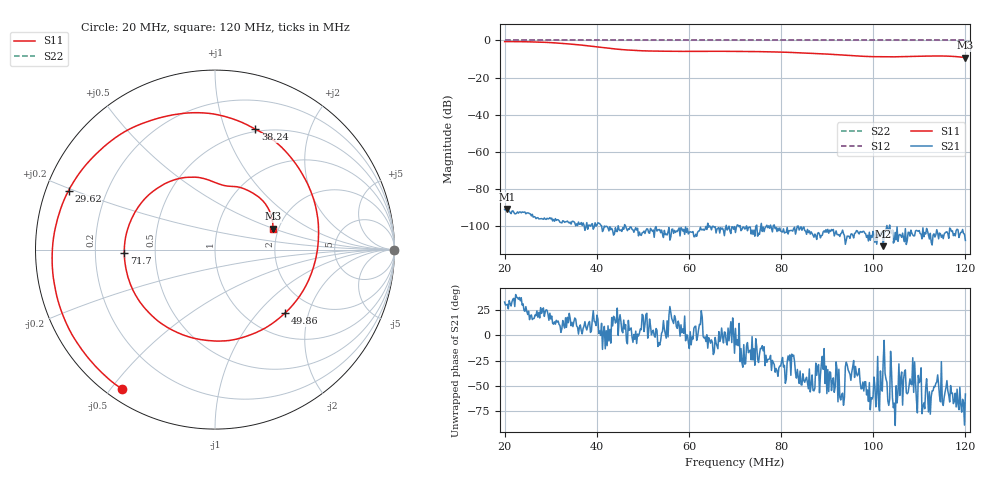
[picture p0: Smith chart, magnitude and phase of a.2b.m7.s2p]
! Anritsu VNA Master:  Model: MS2036C/10/77
! SN:  1601066
! /bd0/18may09/252.ns.m7.s2p
! Existing Calibration Information:
! TYPE:  Current Settings,  Active Cal Settings
! TIME:  05/09/2018 09:07:49 AM,  05/09/2018 09:02:47 AM
! INTERNAL TEMP:  41.0 C,  40.3 C
! # POINTS:  500,  500
! START FREQ:  20.000 MHz,  20.000 MHz
! STOP FREQ:  120.000 MHz,  120.000 MHz
! SOURCE POWER:  High,  High
! IFBW:  50 Hz,  50 Hz
! AVG FACTOR:  1 ,  1
! REF PLANE 1:  0 mm,  0 mm
! REF PLANE 2:  0 mm,  0 mm
! CAL TYPE:  Full S11,  Full S11
! CAL METHOD:  SOLT,  SOLT
! CAL LINE TYPE:  Coax,  Coax
! DUT PORT 1:  K-Conn(F),  K-Conn(F)
! DUT PORT 2:  K-Conn(F),  K-Conn(F)
! CAL STATUS:  OK: Accuracy High,  --
# GHZ S DB R 50.0
! FREQ.GHZ  S11DB  S11A  S21DB  S21A  S12DB  S12A  S22DB  S22A
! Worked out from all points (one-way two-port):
!   500 points, 20 MHz to 120 MHz, reference 50 ohm
!   highest |S21| = -91.02 dB at 20.6 MHz (marker M1); lowest = -111.0 dB at 102.2 MHz (marker M2)
!   lowest |S11| = -9.3 dB at 120 MHz (marker M3), VSWR 2.05, Z = 93.4 + j24.7 ohm
!   |S11| at or under -10 dB: nowhere
!   |S22| runs from 0.0 to 0.0 dB; largest |S21 - S12| = 1
!   S11 on the Smith chart (normalised r, x): 20 MHz: 0.04, -0.53; 29.62 MHz: 0.07, +0.19; 38.24 MHz: 0.47, +1.28; 49.86 MHz: 1.45, -1.42; 71.7 MHz: 0.33, -0.01; 120 MHz: 1.87, +0.49
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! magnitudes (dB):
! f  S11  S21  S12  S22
! 20 MHz  -0.6  -91.1  0.0  0.0
! 20.6 MHz  -0.6  -91.0  0.0  0.0
! 26.21 MHz  -0.8  -95.4  0.0  0.0
! 29.62 MHz  -1.1  -96.2  0.0  0.0
! 32.83 MHz  -1.6  -97.5  0.0  0.0
! 36.83 MHz  -2.6  -99.9  0.0  0.0
! 38.24 MHz  -3.0  -99.7  0.0  0.0
! 44.85 MHz  -4.8  -102.2  0.0  0.0
! 49.86 MHz  -5.6  -103.8  0.0  0.0
! 53.47 MHz  -5.8  -102.1  0.0  0.0
! 57.27 MHz  -5.9  -102.9  0.0  0.0
! 70.1 MHz  -5.9  -103.7  0.0  0.0
! 71.7 MHz  -5.9  -100.8  0.0  0.0
! 79.92 MHz  -6.3  -102.9  0.0  0.0
! 86.73 MHz  -6.9  -104.2  0.0  0.0
! 97.56 MHz  -8.5  -103.6  0.0  0.0
! 102.2 MHz  -8.9  -111.0  0.0  0.0
! 103.4 MHz  -8.9  -101.9  0.0  0.0
! 109 MHz  -8.5  -105.4  0.0  0.0
! 114.8 MHz  -8.4  -106.2  0.0  0.0
! 117.6 MHz  -8.6  -104.3  0.0  0.0
! 120 MHz  -9.3  -107.9  0.0  0.0
